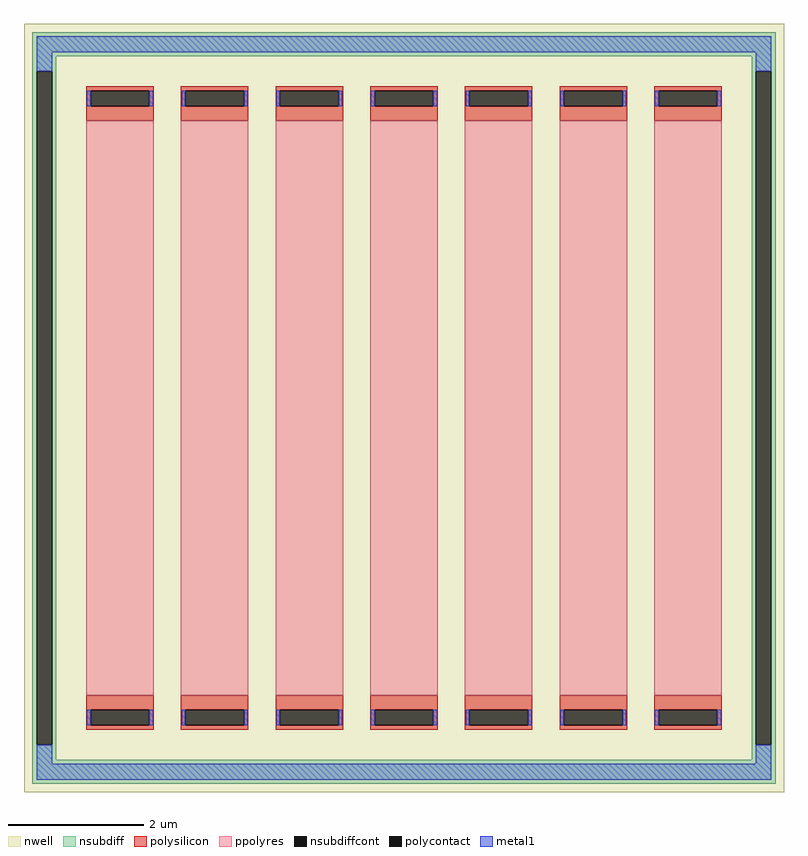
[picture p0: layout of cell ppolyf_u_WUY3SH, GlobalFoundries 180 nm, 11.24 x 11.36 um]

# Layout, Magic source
magic
tech gf180mcuC
magscale 1 10
<< nwell >>
rect -1124 -1136 1124 1136
<< nsubdiff >>
rect -1100 1040 1100 1112
rect -1100 996 -1028 1040
rect -1100 -996 -1087 996
rect -1041 -996 -1028 996
rect 1028 996 1100 1040
rect -1100 -1040 -1028 -996
rect 1028 -996 1041 996
rect 1087 -996 1100 996
rect 1028 -1040 1100 -996
rect -1100 -1112 1100 -1040
<< nsubdiffcont >>
rect -1087 -996 -1041 996
rect 1041 -996 1087 996
<< polysilicon >>
rect -940 939 -740 952
rect -940 893 -927 939
rect -753 893 -740 939
rect -940 850 -740 893
rect -940 -893 -740 -850
rect -940 -939 -927 -893
rect -753 -939 -740 -893
rect -940 -952 -740 -939
rect -660 939 -460 952
rect -660 893 -647 939
rect -473 893 -460 939
rect -660 850 -460 893
rect -660 -893 -460 -850
rect -660 -939 -647 -893
rect -473 -939 -460 -893
rect -660 -952 -460 -939
rect -380 939 -180 952
rect -380 893 -367 939
rect -193 893 -180 939
rect -380 850 -180 893
rect -380 -893 -180 -850
rect -380 -939 -367 -893
rect -193 -939 -180 -893
rect -380 -952 -180 -939
rect -100 939 100 952
rect -100 893 -87 939
rect 87 893 100 939
rect -100 850 100 893
rect -100 -893 100 -850
rect -100 -939 -87 -893
rect 87 -939 100 -893
rect -100 -952 100 -939
rect 180 939 380 952
rect 180 893 193 939
rect 367 893 380 939
rect 180 850 380 893
rect 180 -893 380 -850
rect 180 -939 193 -893
rect 367 -939 380 -893
rect 180 -952 380 -939
rect 460 939 660 952
rect 460 893 473 939
rect 647 893 660 939
rect 460 850 660 893
rect 460 -893 660 -850
rect 460 -939 473 -893
rect 647 -939 660 -893
rect 460 -952 660 -939
rect 740 939 940 952
rect 740 893 753 939
rect 927 893 940 939
rect 740 850 940 893
rect 740 -893 940 -850
rect 740 -939 753 -893
rect 927 -939 940 -893
rect 740 -952 940 -939
<< polycontact >>
rect -927 893 -753 939
rect -927 -939 -753 -893
rect -647 893 -473 939
rect -647 -939 -473 -893
rect -367 893 -193 939
rect -367 -939 -193 -893
rect -87 893 87 939
rect -87 -939 87 -893
rect 193 893 367 939
rect 193 -939 367 -893
rect 473 893 647 939
rect 473 -939 647 -893
rect 753 893 927 939
rect 753 -939 927 -893
<< ppolyres >>
rect -940 -850 -740 850
rect -660 -850 -460 850
rect -380 -850 -180 850
rect -100 -850 100 850
rect 180 -850 380 850
rect 460 -850 660 850
rect 740 -850 940 850
<< metal1 >>
rect -1087 1053 1087 1099
rect -1087 996 -1041 1053
rect 1041 996 1087 1053
rect -938 893 -927 939
rect -753 893 -742 939
rect -658 893 -647 939
rect -473 893 -462 939
rect -378 893 -367 939
rect -193 893 -182 939
rect -98 893 -87 939
rect 87 893 98 939
rect 182 893 193 939
rect 367 893 378 939
rect 462 893 473 939
rect 647 893 658 939
rect 742 893 753 939
rect 927 893 938 939
rect -938 -939 -927 -893
rect -753 -939 -742 -893
rect -658 -939 -647 -893
rect -473 -939 -462 -893
rect -378 -939 -367 -893
rect -193 -939 -182 -893
rect -98 -939 -87 -893
rect 87 -939 98 -893
rect 182 -939 193 -893
rect 367 -939 378 -893
rect 462 -939 473 -893
rect 647 -939 658 -893
rect 742 -939 753 -893
rect 927 -939 938 -893
rect -1087 -1053 -1041 -996
rect 1041 -1053 1087 -996
rect -1087 -1099 1087 -1053
<< properties >>
string FIXED_BBOX -1064 -1076 1064 1076
string gencell ppolyf_u
string library gf180mcu
string parameters w 1.0 l 8.5 m 1 nx 7 wmin 0.80 lmin 1.00 rho 315 val 2.879k dummy 0 dw 0.07 term 0.0 sterm 0.0 caplen 0.4 snake 0 glc 1 grc 1 gtc 0 gbc 0 roverlap 0 endcov 100 full_metal 1
<< end >>
